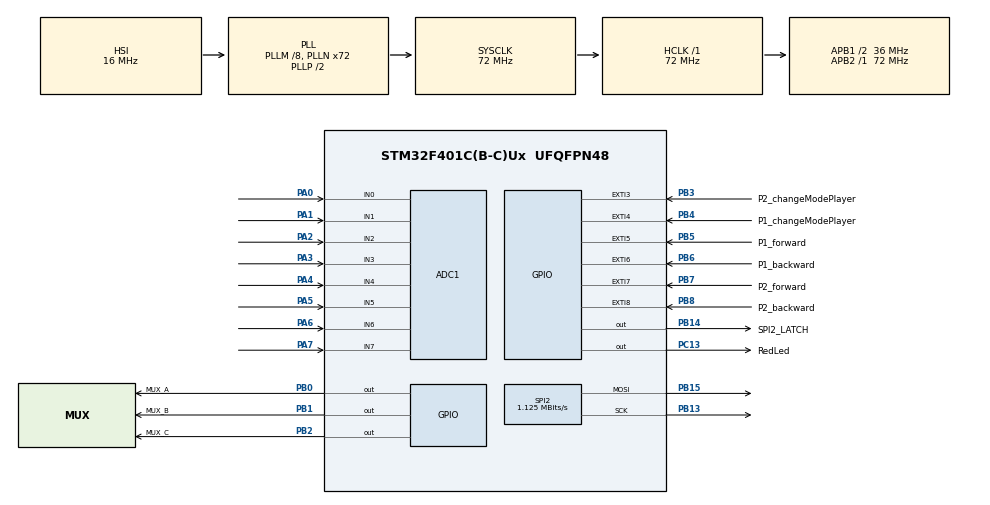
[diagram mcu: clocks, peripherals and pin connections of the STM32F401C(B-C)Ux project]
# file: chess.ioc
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ADC1.Channel-1\#ChannelRegularConversion=ADC_CHANNEL_0
ADC1.Channel-2\#ChannelRegularConversion=ADC_CHANNEL_1
ADC1.Channel-3\#ChannelRegularConversion=ADC_CHANNEL_2
ADC1.Channel-4\#ChannelRegularConversion=ADC_CHANNEL_3
ADC1.Channel-5\#ChannelRegularConversion=ADC_CHANNEL_4
ADC1.Channel-6\#ChannelRegularConversion=ADC_CHANNEL_5
ADC1.Channel-7\#ChannelRegularConversion=ADC_CHANNEL_6
ADC1.Channel-8\#ChannelRegularConversion=ADC_CHANNEL_7
ADC1.ClockPrescaler=ADC_CLOCK_SYNC_PCLK_DIV8
ADC1.ContinuousConvMode=DISABLE
ADC1.EOCSelection=ADC_EOC_SINGLE_CONV
ADC1.ExternalTrigConv=ADC_SOFTWARE_START
ADC1.NbrOfConversion=8
ADC1.NbrOfConversionFlag=1
ADC1.Rank-1\#ChannelRegularConversion=1
ADC1.Rank-2\#ChannelRegularConversion=2
ADC1.Rank-3\#ChannelRegularConversion=3
ADC1.Rank-4\#ChannelRegularConversion=4
ADC1.Rank-5\#ChannelRegularConversion=5
ADC1.Rank-6\#ChannelRegularConversion=6
ADC1.Rank-7\#ChannelRegularConversion=7
ADC1.Rank-8\#ChannelRegularConversion=8
ADC1.SamplingTime-1\#ChannelRegularConversion=ADC_SAMPLETIME_15CYCLES
ADC1.SamplingTime-2\#ChannelRegularConversion=ADC_SAMPLETIME_15CYCLES
ADC1.SamplingTime-3\#ChannelRegularConversion=ADC_SAMPLETIME_15CYCLES
ADC1.SamplingTime-4\#ChannelRegularConversion=ADC_SAMPLETIME_15CYCLES
ADC1.SamplingTime-5\#ChannelRegularConversion=ADC_SAMPLETIME_15CYCLES
ADC1.SamplingTime-6\#ChannelRegularConversion=ADC_SAMPLETIME_15CYCLES
ADC1.SamplingTime-7\#ChannelRegularConversion=ADC_SAMPLETIME_15CYCLES
ADC1.SamplingTime-8\#ChannelRegularConversion=ADC_SAMPLETIME_15CYCLES
ADC1.master=1
Dma.ADC1.0.Direction=DMA_PERIPH_TO_MEMORY
Dma.ADC1.0.FIFOMode=DMA_FIFOMODE_DISABLE
Dma.ADC1.0.Instance=DMA2_Stream0
Dma.ADC1.0.MemDataAlignment=DMA_MDATAALIGN_HALFWORD
Dma.ADC1.0.MemInc=DMA_MINC_ENABLE
Dma.ADC1.0.Mode=DMA_CIRCULAR
Dma.ADC1.0.PeriphDataAlignment=DMA_PDATAALIGN_HALFWORD
Dma.ADC1.0.PeriphInc=DMA_PINC_DISABLE
Dma.ADC1.0.Priority=DMA_PRIORITY_LOW
Dma.Request0=ADC1
Mcu.Family=STM32F4
Mcu.Name=STM32F401C(B-C)Ux
Mcu.Package=UFQFPN48
NVIC.DMA2_Stream0_IRQn=true\:0\:0\:false\:false\:true\:false\:true\:true
NVIC.EXTI3_IRQn=true\:0\:0\:false\:false\:true\:true\:true\:true
NVIC.EXTI4_IRQn=true\:0\:0\:false\:false\:true\:true\:true\:true
NVIC.EXTI9_5_IRQn=true\:0\:0\:false\:false\:true\:true\:true\:true
NVIC.PriorityGroup=NVIC_PRIORITYGROUP_4
NVIC.TIM1_TRG_COM_TIM11_IRQn=true\:0\:0\:false\:false\:true\:true\:true\:true
NVIC.TIM1_UP_TIM10_IRQn=true\:0\:0\:false\:false\:true\:true\:true\:true
PA0-WKUP.Signal=ADCx_IN0
PA1.Signal=ADCx_IN1
PA13.Mode=Serial_Wire
PA13.Signal=SYS_JTMS-SWDIO
PA14.Mode=Serial_Wire
PA14.Signal=SYS_JTCK-SWCLK
PA2.Signal=ADCx_IN2
PA3.Signal=ADCx_IN3
PA4.Signal=ADCx_IN4
PA5.Signal=ADCx_IN5
PA6.Signal=ADCx_IN6
PA7.Signal=ADCx_IN7
PB0.GPIO_Label=MUX_A
PB0.Signal=GPIO_Output
PB1.GPIO_Label=MUX_B
PB1.Signal=GPIO_Output
PB13.GPIO_PuPd=GPIO_PULLDOWN
PB13.GPIO_Speed=GPIO_SPEED_FREQ_MEDIUM
PB13.Mode=TX_Only_Simplex_Unidirect_Master
PB13.Signal=SPI2_SCK
PB14.GPIO_Label=SPI2_LATCH
PB14.GPIO_PuPd=GPIO_PULLDOWN
PB14.Signal=GPIO_Output
PB15.Mode=TX_Only_Simplex_Unidirect_Master
PB15.Signal=SPI2_MOSI
PB2.GPIO_Label=MUX_C
PB2.Signal=GPIO_Output
PB3.GPIO_Label=P2_changeModePlayer
PB3.GPIO_ModeDefaultEXTI=GPIO_MODE_IT_RISING_FALLING
PB3.GPIO_PuPd=GPIO_PULLUP
PB3.Signal=GPXTI3
PB4.GPIO_Label=P1_changeModePlayer
PB4.GPIO_ModeDefaultEXTI=GPIO_MODE_IT_RISING_FALLING
PB4.GPIO_PuPd=GPIO_PULLUP
PB4.Signal=GPXTI4
PB5.GPIO_Label=P1_forward
PB5.GPIO_ModeDefaultEXTI=GPIO_MODE_IT_FALLING
PB5.GPIO_PuPd=GPIO_PULLUP
PB5.Signal=GPXTI5
PB6.GPIO_Label=P1_backward
PB6.GPIO_ModeDefaultEXTI=GPIO_MODE_IT_FALLING
PB6.GPIO_PuPd=GPIO_PULLUP
PB6.Signal=GPXTI6
PB7.GPIO_Label=P2_forward
PB7.GPIO_ModeDefaultEXTI=GPIO_MODE_IT_FALLING
PB7.GPIO_PuPd=GPIO_PULLUP
PB7.Signal=GPXTI7
PB8.GPIO_Label=P2_backward
PB8.GPIO_ModeDefaultEXTI=GPIO_MODE_IT_FALLING
PB8.GPIO_PuPd=GPIO_PULLUP
PB8.Signal=GPXTI8
PC13-ANTI_TAMP.GPIO_Label=RedLed
PC13-ANTI_TAMP.Signal=GPIO_Output
ProjectManager.HeapSize=0x200
ProjectManager.StackSize=0x400
ProjectManager.TargetToolchain=STM32CubeIDE
RCC.48MHZClocksFreq_Value=36000000
RCC.AHBFreq_Value=72000000
RCC.APB1CLKDivider=RCC_HCLK_DIV2
RCC.APB1Freq_Value=36000000
RCC.APB1TimFreq_Value=72000000
RCC.APB2Freq_Value=72000000
RCC.APB2TimFreq_Value=72000000
RCC.CortexFreq_Value=72000000
RCC.HCLKFreq_Value=72000000
RCC.HSE_VALUE=25000000
RCC.HSI_VALUE=16000000
RCC.LSE_VALUE=32768
RCC.PLLM=8
RCC.PLLN=72
RCC.SYSCLKFreq_VALUE=72000000
RCC.SYSCLKSource=RCC_SYSCLKSOURCE_PLLCLK
RCC.VCOOutputFreq_Value=144000000
SH.ADCx_IN0.0=ADC1_IN0,IN0
SH.ADCx_IN1.0=ADC1_IN1,IN1
SH.ADCx_IN2.0=ADC1_IN2,IN2
SH.ADCx_IN3.0=ADC1_IN3,IN3
SH.ADCx_IN4.0=ADC1_IN4,IN4
SH.ADCx_IN5.0=ADC1_IN5,IN5
SH.ADCx_IN6.0=ADC1_IN6,IN6
SH.ADCx_IN7.0=ADC1_IN7,IN7
SPI2.BaudRatePrescaler=SPI_BAUDRATEPRESCALER_32
SPI2.CLKPhase=SPI_PHASE_1EDGE
SPI2.CalculateBaudRate=1.125 MBits/s
SPI2.Direction=SPI_DIRECTION_2LINES
SPI2.Mode=SPI_MODE_MASTER
SPI2.VirtualType=VM_MASTER
TIM10.Period=99
TIM10.Prescaler=499
TIM11.Period=799
TIM11.Prescaler=499
VP_TIM10_VS_ClockSourceINT.Mode=Enable_Timer
VP_TIM11_VS_ClockSourceINT.Mode=Enable_Timer
board=custom

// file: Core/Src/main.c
/* USER CODE BEGIN Header */
/**
  ******************************************************************************
  * @file           : main.c
  * @author         : JZimnol
  * @brief          : Main program body
  ******************************************************************************
  * @attention
  *
  * Copyright (c) 2022 STMicroelectronics.
  * All rights reserved.
  *
  * This software is licensed under terms that can be found in the LICENSE file
  * in the root directory of this software component.
  * If no LICENSE file comes with this software, it is provided AS-IS.
  *
  ******************************************************************************
  */
/* USER CODE END Header */
#include "main.h"
#include "adc.h"
#include "dma.h"
#include "spi.h"
#include "tim.h"
#include "gpio.h"

/* USER CODE BEGIN Includes */
#include "chess.h"
/* USER CODE END Includes */

/* USER CODE BEGIN PV */
volatile uint16_t ADC_results[8];
volatile uint8_t ADC_counter = 0;
volatile int buttonDebounce = 0;
/* USER CODE END PV */

void SystemClock_Config(void);

int main(void)
{
  /* USER CODE BEGIN 1 */
  GameInit();
  /* USER CODE END 1 */

  /* MCU Configuration--------------------------------------------------------*/

  /* Reset of all peripherals, Initializes the Flash interface and the Systick. */
  HAL_Init();

  /* Configure the system clock */
  SystemClock_Config();

  /* USER CODE BEGIN SysInit */
  MX_DMA_Init(); /* NOTE: this function needs to be executed before MX_ADC1_Init(),
                          otherwise ADC DMA won't work properly and no ADC values
                          will be read
                 */
  /* USER CODE END SysInit */

  /* Initialize all configured peripherals */
  MX_GPIO_Init();
  MX_ADC1_Init();
  MX_DMA_Init();
  MX_SPI2_Init();
  MX_TIM10_Init();
  MX_TIM11_Init();
  /* USER CODE BEGIN 2 */

  /* start SPI2 timer */
  HAL_TIM_Base_Start_IT(&htim10);

  /* simple welcome sequence */
  for( uint8_t i=0; i<8; i++ ) {
    for( uint8_t j=0; j<8; j++ ) {
      Chessboard[i][j] = P1_bishop;
      Chessboard[7-i][7-j] = P1_bishop;
      HAL_Delay(100);
      Chessboard[7-i][7-j] = emptyField;
      Chessboard[i][j] = emptyField;
    }
  }
  HAL_Delay(1000);

  for( uint8_t i=0; i<8; i++ ) {
    for( uint8_t j=0; j<8; j++ ) {
      Chessboard[i][j] = emptyField;
    }
  }

  /* start ADC timer */
  HAL_TIM_Base_Start_IT(&htim11);

  /* USER CODE END 2 */

  /* Infinite loop */
  /* USER CODE BEGIN WHILE */
  while (1) {
    /*
     * EMPTY!!!!!
     */
  }
  /* USER CODE END WHILE */

}

void SystemClock_Config(void)
{
  RCC_OscInitTypeDef RCC_OscInitStruct = {0};
  RCC_ClkInitTypeDef RCC_ClkInitStruct = {0};

  /** Configure the main internal regulator output voltage
  */
  __HAL_RCC_PWR_CLK_ENABLE();
  __HAL_PWR_VOLTAGESCALING_CONFIG(PWR_REGULATOR_VOLTAGE_SCALE2);

  /** Initializes the RCC Oscillators according to the specified parameters
  * in the RCC_OscInitTypeDef structure.
  */
  RCC_OscInitStruct.OscillatorType = RCC_OSCILLATORTYPE_HSI;
  RCC_OscInitStruct.HSIState = RCC_HSI_ON;
  RCC_OscInitStruct.HSICalibrationValue = RCC_HSICALIBRATION_DEFAULT;
  RCC_OscInitStruct.PLL.PLLState = RCC_PLL_ON;
  RCC_OscInitStruct.PLL.PLLSource = RCC_PLLSOURCE_HSI;
  RCC_OscInitStruct.PLL.PLLM = 8;
  RCC_OscInitStruct.PLL.PLLN = 72;
  RCC_OscInitStruct.PLL.PLLP = RCC_PLLP_DIV2;
  RCC_OscInitStruct.PLL.PLLQ = 4;
  if (HAL_RCC_OscConfig(&RCC_OscInitStruct) != HAL_OK)
  {
    Error_Handler();
  }

  /** Initializes the CPU, AHB and APB buses clocks
  */
  RCC_ClkInitStruct.ClockType = RCC_CLOCKTYPE_HCLK|RCC_CLOCKTYPE_SYSCLK
                              |RCC_CLOCKTYPE_PCLK1|RCC_CLOCKTYPE_PCLK2;
  RCC_ClkInitStruct.SYSCLKSource = RCC_SYSCLKSOURCE_PLLCLK;
  RCC_ClkInitStruct.AHBCLKDivider = RCC_SYSCLK_DIV1;
  RCC_ClkInitStruct.APB1CLKDivider = RCC_HCLK_DIV2;
  RCC_ClkInitStruct.APB2CLKDivider = RCC_HCLK_DIV1;

  if (HAL_RCC_ClockConfig(&RCC_ClkInitStruct, FLASH_LATENCY_2) != HAL_OK)
  {
    Error_Handler();
  }
}

/* USER CODE BEGIN 4 */

/**-----------------------------------------------------------------------------
 * @brief     TIM10 & TIM11 ISR
 * @param[in] instance of a timer
 */
void HAL_TIM_PeriodElapsedCallback(TIM_HandleTypeDef *htim) {

    /* interrupt every 695 us */
    if( htim->Instance == TIM10 ) {
        buttonDebounce++;
        if( Game.mode == Normal ) {
            uint8_t dataToSend = 0;
            if( Game.SPI2_x%2 == 0 ) {
                SPI2_Buffer[Game.SPI2_x][Game.SPI2_y] =
                        Chessboard[Game.SPI2_x][Game.SPI2_y] != emptyField ? WHITE_LIGHT : NO_LIGHT;
                SPI2_Buffer[Game.SPI2_x][Game.SPI2_y+1] =
                        Chessboard[Game.SPI2_x][Game.SPI2_y+1] != emptyField ? WHITE_LIGHT : NO_LIGHT;

                dataToSend = ~((SPI2_Buffer[Game.SPI2_x][Game.SPI2_y]<<4) |
                                SPI2_Buffer[Game.SPI2_x][Game.SPI2_y+1]);
            }
            else {
                SPI2_Buffer[Game.SPI2_x][7-Game.SPI2_y] =
                        Chessboard[Game.SPI2_x][7-Game.SPI2_y] != emptyField ? WHITE_LIGHT : NO_LIGHT;
                SPI2_Buffer[Game.SPI2_x][7-Game.SPI2_y-1] =
                        Chessboard[Game.SPI2_x][7-Game.SPI2_y-1] != emptyField ? WHITE_LIGHT : NO_LIGHT;

                dataToSend = ~((SPI2_Buffer[Game.SPI2_x][7-Game.SPI2_y]<<4) |
                                SPI2_Buffer[Game.SPI2_x][7-Game.SPI2_y-1]);
            }

            /* blocking transmission, 7.11 us */
            HAL_SPI_Transmit(&hspi2, &dataToSend, 1, 100000);

            Game.SPI2_y += 2;
            if( Game.SPI2_y == 8 ) {
                Game.SPI2_y = 0;
                Game.SPI2_x++;
                if( Game.SPI2_x == 8 ) {
                    HAL_GPIO_WritePin(SPI2_LATCH_GPIO_Port, SPI2_LATCH_Pin, GPIO_PIN_SET);
                    HAL_GPIO_WritePin(SPI2_LATCH_GPIO_Port, SPI2_LATCH_Pin, GPIO_PIN_RESET);
                    Game.SPI2_x = 0;
                }
            }
        }

    }
    /* interrupt every 5.55 ms */
    else if( htim->Instance == TIM11 ) {
        ADC_counter = ADC_counter > 7 ? 0 : ADC_counter;
        SetMuxOutputs(ADC_counter);
        HAL_ADC_Start_DMA(&hadc1, (uint32_t*)ADC_results, 8);
    }
}

/**-----------------------------------------------------------------------------
 * @brief     ADC conversion complete
 * @param[in] instance of an ADC
 */
void HAL_ADC_ConvCpltCallback(ADC_HandleTypeDef* hadc) {
    for( uint8_t i=0; i<7; i++) {
        if     ( IsBetween(P1_PAWN_VALUE,   ADC_MARGIN, ADC_results[i]) ) Chessboard[i][ADC_counter] = P1_pawn;
        else if( IsBetween(P1_ROOK_VALUE,   ADC_MARGIN, ADC_results[i]) ) Chessboard[i][ADC_counter] = P1_rook;
        else if( IsBetween(P1_KNIGHT_VALUE, ADC_MARGIN, ADC_results[i]) ) Chessboard[i][ADC_counter] = P1_knight;
        else if( IsBetween(P1_BISHOP_VALUE, ADC_MARGIN, ADC_results[i]) ) Chessboard[i][ADC_counter] = P1_bishop;
        else if( IsBetween(P1_QUEEN_VALUE,  ADC_MARGIN, ADC_results[i]) ) Chessboard[i][ADC_counter] = P1_queen;
        else if( IsBetween(P1_KING_VALUE,   ADC_MARGIN, ADC_results[i]) ) Chessboard[i][ADC_counter] = P1_king;
        else if( IsBetween(P2_PAWN_VALUE,   ADC_MARGIN, ADC_results[i]) ) Chessboard[i][ADC_counter] = P2_pawn;
        else if( IsBetween(P2_ROOK_VALUE,   ADC_MARGIN, ADC_results[i]) ) Chessboard[i][ADC_counter] = P2_rook;
        else if( IsBetween(P2_KNIGHT_VALUE, ADC_MARGIN, ADC_results[i]) ) Chessboard[i][ADC_counter] = P2_knight;
        else if( IsBetween(P2_BISHOP_VALUE, ADC_MARGIN, ADC_results[i]) ) Chessboard[i][ADC_counter] = P2_bishop;
        else if( IsBetween(P2_QUEEN_VALUE,  ADC_MARGIN, ADC_results[i]) ) Chessboard[i][ADC_counter] = P2_queen;
        else if( IsBetween(P2_KING_VALUE,   ADC_MARGIN, ADC_results[i]) ) Chessboard[i][ADC_counter] = P2_king;
        else   Chessboard[i][ADC_counter] = emptyField;
    }
    ADC_counter++;
}

/**-----------------------------------------------------------------------------
 * @brief     GPIO ISR
 * @param[in] GPIO pin number
 */
void HAL_GPIO_EXTI_Callback(uint16_t GPIO_Pin) {

    Game.P1.hasPieces = true;
    Game.P2.hasPieces = true;

    if( GPIO_Pin == P1_changeModePlayer_Pin ) {
        /* falling edge, reset buttonDebounce counter and do nothing */
        if( HAL_GPIO_ReadPin(P1_changeModePlayer_GPIO_Port, P1_changeModePlayer_Pin ) == 0 ) {
            buttonDebounce = 0;
            return;
        }
        /* rising edge */
        else {
            /* short-time press, less than 1 second */
            if( buttonDebounce < 1440 ) {
                if( Game.turn == P1 && Game.mode == Interactive ) {
                    ClearSPI2Buffer();
                    Game.turn = P2;
                    Game.P2.currentField[0] = 0;
                    Game.P2.currentField[1] = 8;
                    FindNextPiece();
                }
            }
            /* long-time press, longer than 1 second */
            else if( buttonDebounce > 280 ) {
                if( Game.mode == Normal ) {
                    ClearSPI2Buffer();
                    Game.mode = Interactive;
                    Game.turn = P1;
                    Game.P1.currentField[0] = 0;
                    Game.P1.currentField[1] = 255;
                    FindNextPiece();
                }
                else if( Game.turn == P1 ) {
                    Game.mode = Normal;
                    Game.SPI2_x = 0;
                    Game.SPI2_y = 0;
                }
            }
            buttonDebounce = 0;
            return;
        }
    }

    if( GPIO_Pin == P2_changeModePlayer_Pin ) {
        /* falling edge, reset buttonDebounce counter and do nothing */
        if( HAL_GPIO_ReadPin(P2_changeModePlayer_GPIO_Port, P2_changeModePlayer_Pin ) == 0 ) {
            buttonDebounce = 0;
            return;
        }
        /* rising edge */
        else {
            /* short-time press, less than 1 second */
            if( buttonDebounce < 1440 ) {
                if( Game.turn == P2 && Game.mode == Interactive ) {
                    ClearSPI2Buffer();
                    Game.turn = P1;
                    Game.P1.currentField[0] = 0;
                    Game.P1.currentField[1] = 255;
                    FindNextPiece();
                }
            }
            /* long-time press, longer than 1 second */
            else if( buttonDebounce > 280 ) {
                if( Game.mode == Normal ) {
                    ClearSPI2Buffer();
                    Game.mode = Interactive;
                    Game.turn = P2;
                    Game.P2.currentField[0] = 0;
                    Game.P2.currentField[1] = 8;
                    FindNextPiece();
                }
                else if( Game.turn == P2 ) {
                    Game.mode = Normal;
                    Game.SPI2_x = 0;
                    Game.SPI2_y = 0;
                }
            }
            buttonDebounce = 0;
            return;
        }
    }

    /* other buttons debounceTimer check */
    if( buttonDebounce < 280 ) {
        return;
    }
    else {
        buttonDebounce = 0;
    }

    if( GPIO_Pin == P1_forward_Pin ) {
        if( Game.mode == Interactive && Game.turn == P1 ) {
            ClearSPI2Buffer();
            FindNextPiece();
        }
    }
    else if( GPIO_Pin == P2_forward_Pin ) {
        if( Game.mode == Interactive && Game.turn == P2 ) {
            ClearSPI2Buffer();
            FindNextPiece();
        }
    }
    else if( GPIO_Pin == P1_backward_Pin ) {
        if( Game.mode == Interactive && Game.turn == P1 ) {
            ClearSPI2Buffer();
            FindPrevPiece();
        }
    }
    else if( GPIO_Pin == P2_backward_Pin ) {
        if( Game.mode == Interactive && Game.turn == P2 ) {
            ClearSPI2Buffer();
            FindPrevPiece();
        }
    }
}

/* USER CODE END 4 */

void Error_Handler(void)
{
  __disable_irq();
  while (1)
  {
  }
}
